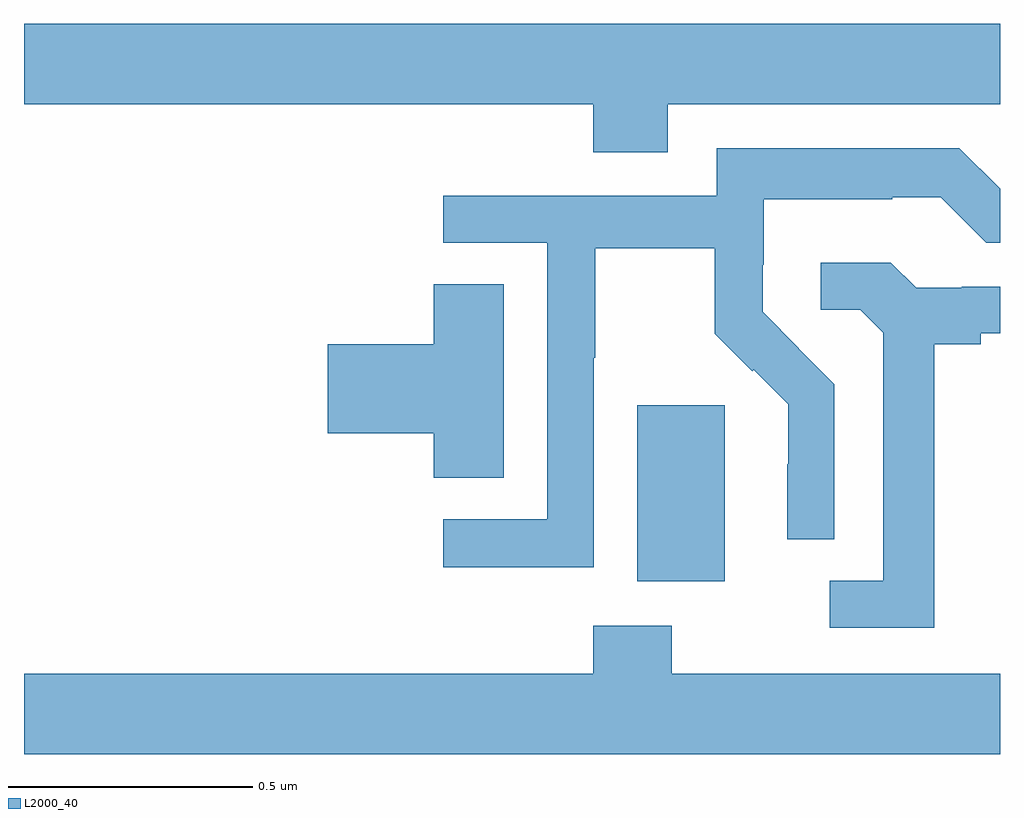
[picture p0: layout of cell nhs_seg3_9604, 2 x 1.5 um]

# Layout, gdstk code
import gdstk
lib = gdstk.Library(unit=1e-6, precision=1e-09)
def R(c, l, rs):  # rectangles x0, y0, x1, y1
    for r in rs: c.add(gdstk.rectangle(r[:2], r[2:], *l))
def P(c, l, *ps):  # polygons
    for p in ps: c.add(gdstk.Polygon(p, *l))
L2000_40 = (2000, 40)

nhs_seg3_9604 = lib.new_cell('nhs_seg3_9604')
R(nhs_seg3_9604, L2000_40, [(231.257,729.242,231.436,729.603)])
P(nhs_seg3_9604, L2000_40, [(231.319,730.22),(232,730.22),(232,730.384),(230,730.384),(230,730.22),(231.167,730.22),(231.167,730.121),(231.319,730.121)],
  [(231.168,729.7),(231.171,729.7),(231.171,729.924),(231.415,729.924),(231.415,729.749),(231.492,729.672),(231.495,729.675),(231.566,729.605),(231.566,729.482),(231.564,729.482),(231.564,729.328),(231.66,729.328),(231.66,729.646),(231.587,729.719),(231.588,729.72),(231.514,729.794),(231.514,729.891),(231.516,729.891),(231.516,730.025),(231.779,730.025),(231.779,730.029),(231.879,730.029),(231.972,729.936),(232,729.936),(232,730.046),(231.917,730.129),(231.42,730.129),(231.42,730.032),(230.859,730.032),(230.859,729.936),(231.072,729.936),(231.072,729.369),(230.859,729.369),(230.859,729.271),(231.168,729.271)],
  [(231.865,729.728),(231.961,729.728),(231.961,729.75),(232,729.75),(232,729.846),(231.922,729.846),(231.922,729.843),(231.828,729.843),(231.776,729.895),(231.633,729.895),(231.633,729.798),(231.714,729.798),(231.761,729.751),(231.761,729.243),(231.651,729.243),(231.651,729.147),(231.865,729.147)],
  [(230.983,729.851),(230.84,729.851),(230.84,729.728),(230.622,729.728),(230.622,729.545),(230.84,729.545),(230.84,729.454),(230.983,729.454)],
  [(232,729.052),(231.327,729.052),(231.327,729.151),(231.167,729.151),(231.167,729.052),(230,729.052),(230,728.888),(232,728.888)])

lib.write_gds('nhs_seg3_9604.gds')
